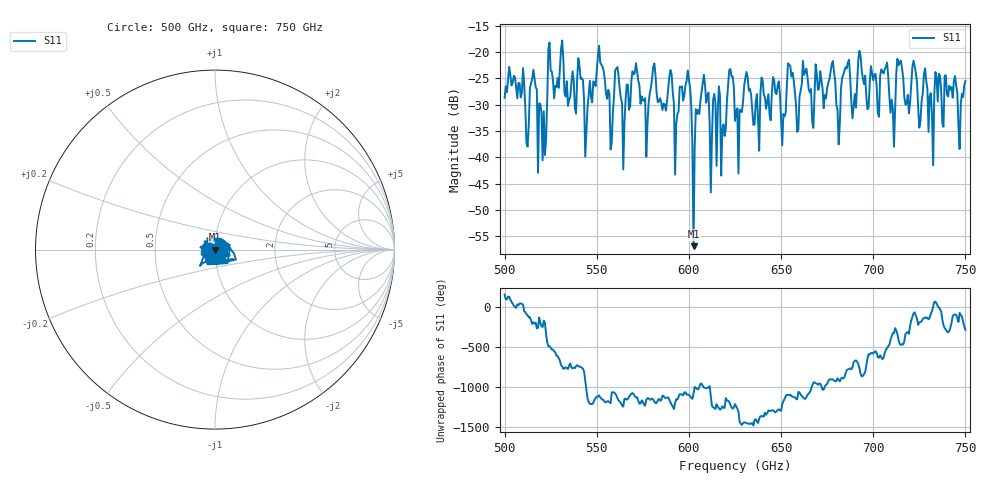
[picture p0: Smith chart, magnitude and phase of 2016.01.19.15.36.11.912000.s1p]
!Created with skrf (http://scikit-rf.org).
# GHz S RI R 50.0
!freq ReS11 ImS11
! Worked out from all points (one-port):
!   401 points, 500 GHz to 750 GHz, reference 50 ohm
!   lowest |S11| = -56.9 dB at 602.5 GHz (marker M1), VSWR 1.00, Z = 50.1 - j0.0192 ohm
!   |S11| at or under -10 dB: start of sweep to end of sweep
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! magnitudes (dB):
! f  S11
! 500 GHz  -28.7
! 512.5 GHz  -38.0
! 515.6 GHz  -23.4
! 521.2 GHz  -31.2
! 524.4 GHz  -18.2
! 531.2 GHz  -17.8
! 544.4 GHz  -35.1
! 551.2 GHz  -18.8
! 557.5 GHz  -38.5
! 562.5 GHz  -27.1
! 570.6 GHz  -24.0
! 576.9 GHz  -39.9
! 590 GHz  -23.4
! 593.8 GHz  -31.8
! 599.4 GHz  -23.5
! 602.5 GHz  -56.9
! 607.5 GHz  -26.0
! 618.8 GHz  -33.8
! 622.5 GHz  -23.2
! 625 GHz  -33.1
! 651.2 GHz  -31.8
! 656.2 GHz  -23.9
! 687.5 GHz  -25.0
! 706.2 GHz  -23.3
! 710.6 GHz  -30.8
! 714.4 GHz  -22.0
! 718.8 GHz  -28.1
! 750 GHz  -25.5
